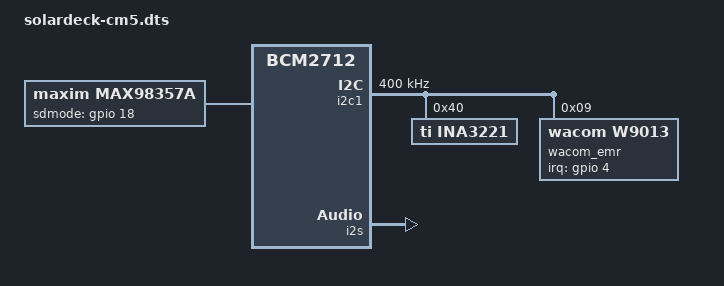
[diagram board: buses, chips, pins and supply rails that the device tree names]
// SPDX-License-Identifier: GPL-2.0-or-later OR MIT
/*
 * Device Tree Overlay for SolarDeck Carrier Board on Raspberry Pi CM5
 * Written 2026-10-19 UTC in the Pi harness by antigravity/gemini-3.8-flash
 * Revised 2026-10-21 UTC in Claude Code by anthropic/claude-opus-5-5 (ADR-031, ADR-032)
 *
 * NOT YET VALID FOR CM5. This overlay was written for the CM4 (BCM2711). On the CM5, GPIO, SPI, I2C
 * and I2S are provided by the RP1 I/O controller, so the brcm,pins pinctrl below and the target
 * labels must be ported to the CM5/RP1 base tree before it is compiled. Known defects to fix in the
 * same pass: AUDIT 6 H11 (audio clock master, SD_MODE on PCM_CLK).
 * The display controller node is deliberately absent: the Kaleido 4 controller is TBD (ADR-032).
 *
 * Configures:
 *  - TI INA3221 3-Channel System Power Ammeter on I2C1 (0x40)
 *  - Wacom EMR Digitizer on I2C1 (0x09)
 *  - MAX98357A I2S Class-D Audio Amplifier on I2S
 *  - RP2350 GPIO Wake Interrupt (GPIO 17) & Airgap Sense (GPIO 22)
 *  - Peripheral Power Load Switches (GPIO 23, 24)
 */

/dts-v1/;
/plugin/;

/ {
    compatible = "brcm,bcm2712";

    /* Fragment 0: GPIO Pin Assignments */
    fragment@0 {
        target = <&gpio>;
        __overlay__ {
            solardeck_gpios: solardeck_gpio_pins {
                brcm,pins = <17 22 23 24 27>;
                brcm,function = <0 0 1 1 0>; /* 17:in (wake), 22:in (airgap), 23:out (pwr), 24:out (rf), 27:in (display ready, TBD) */
                brcm,pull = <2 2 0 0 2>;     /* Pull-ups on inputs */
            };
        };
    };

    /* Fragment 1: display controller on SPI0 -- TBD with the Kaleido 4 datasheet (ADR-032). */

    /* Fragment 2: I2C1 Peripherals (PMIC, Fuel Gauge, Ammeter, Digitizer) */
    fragment@2 {
        target = <&i2c1>;
        __overlay__ {
            status = "okay";
            clock-frequency = <400000>;
            #address-cells = <1>;
            #size-cells = <0>;

            /* No charger node: the BQ25798 is on the RP2350's always-on bus and Linux never binds or
             * writes it (ADR-035). Charge state reaches Linux through the RP2350 telemetry bridge. */

            /* Texas Instruments INA3221 3-Channel Power Monitor */
            ina3221: power-monitor@40 {
                compatible = "ti,ina3221";
                reg = <0x40>;
                #address-cells = <1>;
                #size-cells = <0>;

                channel@0 {
                    reg = <0>;
                    ti,shunt-micro-ohms = <10000>; /* 10 mOhm: Compute Rail */
                    label = "Compute_Core";
                };

                channel@1 {
                    reg = <1>;
                    ti,shunt-micro-ohms = <10000>; /* 10 mOhm: Display Rail */
                    label = "Display_EPDC";
                };

                channel@2 {
                    reg = <2>;
                    ti,shunt-micro-ohms = <20000>; /* 20 mOhm: RF Radios */
                    label = "RF_Radios";
                };
            };

            /* Wacom EMR Digitizer Slate */
            wacom_emr: digitizer@09 {
                compatible = "wacom,w9013";
                reg = <0x09>;
                interrupt-parent = <&gpio>;
                interrupts = <4 2>; /* GPIO 4: Active-low falling edge */
                status = "okay";
            };
        };
    };

    /* Fragment 3: I2S Audio Interface (MAX98357A DAC & Knowles MEMS Mic) */
    fragment@3 {
        target = <&i2s>;
        __overlay__ {
            status = "okay";
        };
    };

    /* Fragment 4: Simple Sound Card Binding */
    fragment@4 {
        target-path = "/";
        __overlay__ {
            sound {
                compatible = "simple-audio-card";
                simple-audio-card,name = "SolarDeck-Audio";
                simple-audio-card,format = "i2s";
                simple-audio-card,bitclock-master = <&sound_codec>;
                simple-audio-card,frame-master = <&sound_codec>;

                simple-audio-card,cpu {
                    sound-dai = <&i2s>;
                };

                sound_codec: simple-audio-card,codec {
                    sound-dai = <&max98357a>;
                };
            };

            max98357a: max98357a-codec {
                compatible = "maxim,max98357a";
                #sound-dai-cells = <0>;
                sdmode-gpios = <&gpio 18 0>;
                status = "okay";
            };
        };
    };
};
